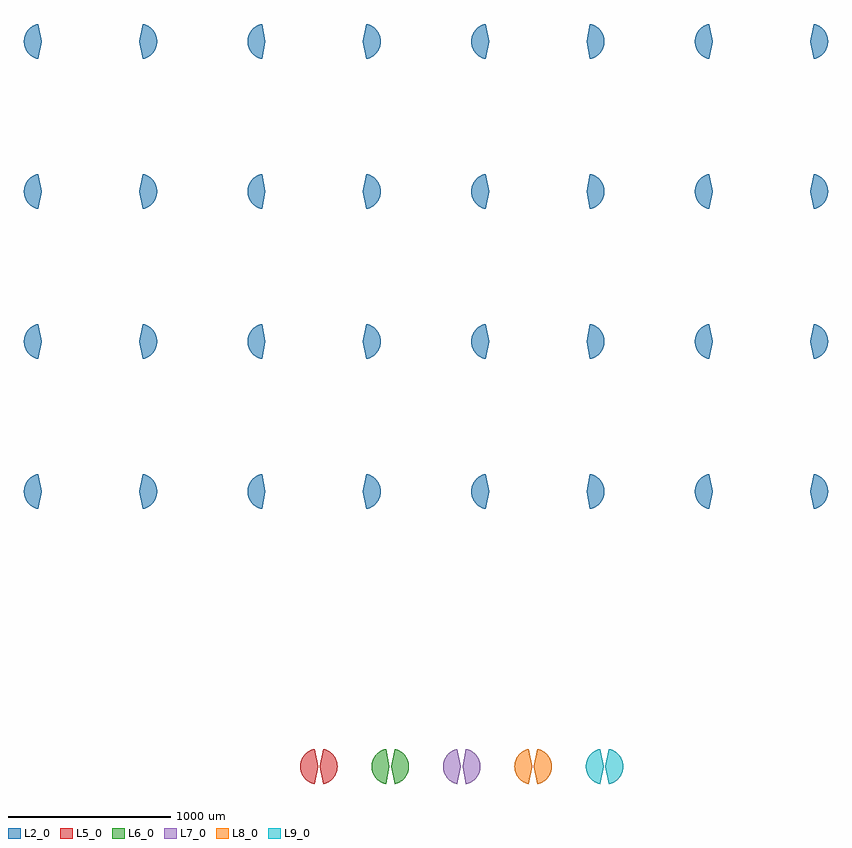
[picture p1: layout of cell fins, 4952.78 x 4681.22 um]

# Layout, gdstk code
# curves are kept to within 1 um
import gdstk
lib = gdstk.Library(unit=1e-6, precision=1e-09)
def P(c, l, *ps):  # polygons
    for p in ps: c.add(gdstk.Polygon(p, *l))
L2_0 = (2, 0)
L5_0 = (5, 0)
L6_0 = (6, 0)
L7_0 = (7, 0)
L8_0 = (8, 0)
L9_0 = (9, 0)

fins = lib.new_cell('fins')
P(fins, L2_0, [(3256.282,6278.39),(3275.127,6284.14),(3291.088,6292.218),(3305.611,6302.847),(3318.137,6315.619),(3328.482,6330.346),(3337.286,6349.269),(3341.888,6366.668),(3343.59,6386.056),(3233.64,6386.056),(3254.774,6279.552)],
  [(3343.59,6387.47),(3341.888,6405.332),(3337.286,6422.731),(3328.482,6441.654),(3318.137,6456.381),(3305.57,6469.188),(3288.562,6481.285),(3272.289,6488.971),(3255.282,6493.289),(3233.64,6386.056),(3343.59,6386.056)],
  [(2611.061,6278.389),(2612.426,6279.552),(2633.56,6386.056),(2523.61,6386.056),(2525.312,6366.668),(2529.914,6349.269),(2538.718,6330.346),(2549.063,6315.619),(2561.589,6302.847),(2576.112,6292.218),(2592.073,6284.14)],
  [(2633.554,6386.168),(2612.426,6492.448),(2610.99,6493.612),(2592.073,6487.86),(2576.112,6479.782),(2561.589,6469.153),(2549.063,6456.381),(2538.718,6441.654),(2529.914,6422.731),(2525.312,6405.332),(2523.61,6387.47),(2523.61,6386.056)],
  [(4633.882,6278.39),(4652.727,6284.14),(4668.688,6292.218),(4683.211,6302.847),(4695.737,6315.619),(4706.082,6330.346),(4714.886,6349.269),(4719.488,6366.668),(4721.19,6386.098),(4611.242,6386.098),(4632.374,6279.552)],
  [(4721.19,6387.47),(4719.488,6405.332),(4714.886,6422.731),(4706.082,6441.654),(4695.737,6456.381),(4683.17,6469.188),(4666.162,6481.285),(4649.889,6488.971),(4632.882,6493.289),(4611.242,6386.098),(4721.19,6386.098)],
  [(3988.661,6278.389),(3990.026,6279.552),(4011.16,6386.056),(3901.21,6386.056),(3902.912,6366.668),(3907.514,6349.269),(3916.318,6330.346),(3926.663,6315.619),(3939.189,6302.847),(3953.712,6292.218),(3969.673,6284.14)],
  [(4011.154,6386.168),(3990.026,6492.448),(3988.59,6493.612),(3969.673,6487.86),(3953.712,6479.782),(3939.189,6469.153),(3926.663,6456.381),(3916.318,6441.654),(3907.514,6422.731),(3902.912,6405.332),(3901.21,6387.47),(3901.21,6386.056)],
  [(6011.482,6278.39),(6030.327,6284.14),(6046.288,6292.218),(6060.811,6302.847),(6073.337,6315.619),(6083.682,6330.346),(6092.486,6349.269),(6097.088,6366.668),(6098.79,6386.098),(5988.842,6386.098),(6009.974,6279.552)],
  [(6098.79,6387.47),(6097.088,6405.332),(6092.486,6422.731),(6083.682,6441.654),(6073.337,6456.381),(6060.77,6469.188),(6043.762,6481.285),(6027.489,6488.971),(6010.482,6493.289),(5988.842,6386.098),(6098.79,6386.098)],
  [(5366.261,6278.389),(5367.626,6279.552),(5388.758,6386.098),(5278.81,6386.098),(5280.512,6366.668),(5285.114,6349.269),(5293.918,6330.346),(5304.263,6315.619),(5316.789,6302.847),(5331.312,6292.218),(5347.273,6284.14)],
  [(5388.751,6386.196),(5367.626,6492.448),(5366.19,6493.612),(5347.273,6487.86),(5331.312,6479.782),(5316.789,6469.153),(5304.263,6456.381),(5293.918,6441.654),(5285.114,6422.731),(5280.512,6405.332),(5278.81,6387.47),(5278.81,6386.098)],
  [(7389.082,6278.39),(7407.927,6284.14),(7423.888,6292.218),(7438.411,6302.847),(7450.937,6315.619),(7461.282,6330.346),(7470.086,6349.269),(7474.688,6366.668),(7476.39,6386.098),(7366.442,6386.098),(7387.574,6279.552)],
  [(7476.39,6387.47),(7474.688,6405.332),(7470.086,6422.731),(7461.282,6441.654),(7450.937,6456.381),(7438.37,6469.188),(7421.362,6481.285),(7405.089,6488.971),(7388.082,6493.289),(7366.442,6386.098),(7476.39,6386.098)],
  [(6743.861,6278.389),(6745.226,6279.552),(6766.358,6386.098),(6656.41,6386.098),(6658.112,6366.668),(6662.714,6349.269),(6671.518,6330.346),(6681.863,6315.619),(6694.389,6302.847),(6708.912,6292.218),(6724.873,6284.14)],
  [(6766.351,6386.196),(6745.226,6492.448),(6743.79,6493.612),(6724.873,6487.86),(6708.912,6479.782),(6694.389,6469.153),(6681.863,6456.381),(6671.518,6441.654),(6662.714,6422.731),(6658.112,6405.332),(6656.41,6387.47),(6656.41,6386.098)],
  [(3256.282,5354.39),(3275.127,5360.14),(3291.088,5368.218),(3305.611,5378.847),(3318.137,5391.619),(3328.482,5406.346),(3337.286,5425.269),(3341.888,5442.668),(3343.59,5462.056),(3233.64,5462.056),(3254.774,5355.552)],
  [(3343.59,5463.47),(3341.888,5481.332),(3337.286,5498.731),(3328.482,5517.654),(3318.137,5532.381),(3305.57,5545.188),(3288.562,5557.285),(3272.289,5564.971),(3255.282,5569.289),(3233.64,5462.056),(3343.59,5462.056)],
  [(2611.061,5354.389),(2612.426,5355.552),(2633.56,5462.056),(2523.61,5462.056),(2525.312,5442.668),(2529.914,5425.269),(2538.718,5406.346),(2549.063,5391.619),(2561.589,5378.847),(2576.112,5368.218),(2592.073,5360.14)],
  [(2633.554,5462.168),(2612.426,5568.448),(2610.99,5569.612),(2592.073,5563.86),(2576.112,5555.782),(2561.589,5545.153),(2549.063,5532.381),(2538.718,5517.654),(2529.914,5498.731),(2525.312,5481.332),(2523.61,5463.47),(2523.61,5462.056)],
  [(4633.882,5354.39),(4652.727,5360.14),(4668.688,5368.218),(4683.211,5378.847),(4695.737,5391.619),(4706.082,5406.346),(4714.886,5425.269),(4719.488,5442.668),(4721.19,5462.098),(4611.242,5462.098),(4632.374,5355.552)],
  [(4721.19,5463.47),(4719.488,5481.332),(4714.886,5498.731),(4706.082,5517.654),(4695.737,5532.381),(4683.17,5545.188),(4666.162,5557.285),(4649.889,5564.971),(4632.882,5569.289),(4611.242,5462.098),(4721.19,5462.098)],
  [(3988.661,5354.389),(3990.026,5355.552),(4011.16,5462.056),(3901.21,5462.056),(3902.912,5442.668),(3907.514,5425.269),(3916.318,5406.346),(3926.663,5391.619),(3939.189,5378.847),(3953.712,5368.218),(3969.673,5360.14)],
  [(4011.154,5462.168),(3990.026,5568.448),(3988.59,5569.612),(3969.673,5563.86),(3953.712,5555.782),(3939.189,5545.153),(3926.663,5532.381),(3916.318,5517.654),(3907.514,5498.731),(3902.912,5481.332),(3901.21,5463.47),(3901.21,5462.056)],
  [(6011.482,5354.39),(6030.327,5360.14),(6046.288,5368.218),(6060.811,5378.847),(6073.337,5391.619),(6083.682,5406.346),(6092.486,5425.269),(6097.088,5442.668),(6098.79,5462.098),(5988.842,5462.098),(6009.974,5355.552)],
  [(6098.79,5463.47),(6097.088,5481.332),(6092.486,5498.731),(6083.682,5517.654),(6073.337,5532.381),(6060.77,5545.188),(6043.762,5557.285),(6027.489,5564.971),(6010.482,5569.289),(5988.842,5462.098),(6098.79,5462.098)],
  [(5366.261,5354.389),(5367.626,5355.552),(5388.758,5462.098),(5278.81,5462.098),(5280.512,5442.668),(5285.114,5425.269),(5293.918,5406.346),(5304.263,5391.619),(5316.789,5378.847),(5331.312,5368.218),(5347.273,5360.14)],
  [(5388.751,5462.196),(5367.626,5568.448),(5366.19,5569.612),(5347.273,5563.86),(5331.312,5555.782),(5316.789,5545.153),(5304.263,5532.381),(5293.918,5517.654),(5285.114,5498.731),(5280.512,5481.332),(5278.81,5463.47),(5278.81,5462.098)],
  [(7389.082,5354.39),(7407.927,5360.14),(7423.888,5368.218),(7438.411,5378.847),(7450.937,5391.619),(7461.282,5406.346),(7470.086,5425.269),(7474.688,5442.668),(7476.39,5462.098),(7366.442,5462.098),(7387.574,5355.552)],
  [(7476.39,5463.47),(7474.688,5481.332),(7470.086,5498.731),(7461.282,5517.654),(7450.937,5532.381),(7438.37,5545.188),(7421.362,5557.285),(7405.089,5564.971),(7388.082,5569.289),(7366.442,5462.098),(7476.39,5462.098)],
  [(6743.861,5354.389),(6745.226,5355.552),(6766.358,5462.098),(6656.41,5462.098),(6658.112,5442.668),(6662.714,5425.269),(6671.518,5406.346),(6681.863,5391.619),(6694.389,5378.847),(6708.912,5368.218),(6724.873,5360.14)],
  [(6766.351,5462.196),(6745.226,5568.448),(6743.79,5569.612),(6724.873,5563.86),(6708.912,5555.782),(6694.389,5545.153),(6681.863,5532.381),(6671.518,5517.654),(6662.714,5498.731),(6658.112,5481.332),(6656.41,5463.47),(6656.41,5462.098)],
  [(3256.282,4430.39),(3275.127,4436.14),(3291.088,4444.218),(3305.611,4454.847),(3318.137,4467.619),(3328.482,4482.346),(3337.286,4501.269),(3341.888,4518.668),(3343.59,4538.056),(3233.64,4538.056),(3254.774,4431.552)],
  [(3343.59,4539.47),(3341.888,4557.332),(3337.286,4574.731),(3328.482,4593.654),(3318.137,4608.381),(3305.57,4621.188),(3288.562,4633.285),(3272.289,4640.971),(3255.282,4645.289),(3233.64,4538.056),(3343.59,4538.056)],
  [(2611.061,4430.389),(2612.426,4431.552),(2633.56,4538.056),(2523.61,4538.056),(2525.312,4518.668),(2529.914,4501.269),(2538.718,4482.346),(2549.063,4467.619),(2561.589,4454.847),(2576.112,4444.218),(2592.073,4436.14)],
  [(2633.554,4538.168),(2612.426,4644.448),(2610.99,4645.612),(2592.073,4639.86),(2576.112,4631.782),(2561.589,4621.153),(2549.063,4608.381),(2538.718,4593.654),(2529.914,4574.731),(2525.312,4557.332),(2523.61,4539.47),(2523.61,4538.056)],
  [(4633.882,4430.39),(4652.727,4436.14),(4668.688,4444.218),(4683.211,4454.847),(4695.737,4467.619),(4706.082,4482.346),(4714.886,4501.269),(4719.488,4518.668),(4721.19,4538.098),(4611.242,4538.098),(4632.374,4431.552)],
  [(4721.19,4539.47),(4719.488,4557.332),(4714.886,4574.731),(4706.082,4593.654),(4695.737,4608.381),(4683.17,4621.188),(4666.162,4633.285),(4649.889,4640.971),(4632.882,4645.289),(4611.242,4538.098),(4721.19,4538.098)],
  [(3988.661,4430.389),(3990.026,4431.552),(4011.16,4538.056),(3901.21,4538.056),(3902.912,4518.668),(3907.514,4501.269),(3916.318,4482.346),(3926.663,4467.619),(3939.189,4454.847),(3953.712,4444.218),(3969.673,4436.14)],
  [(4011.154,4538.168),(3990.026,4644.448),(3988.59,4645.612),(3969.673,4639.86),(3953.712,4631.782),(3939.189,4621.153),(3926.663,4608.381),(3916.318,4593.654),(3907.514,4574.731),(3902.912,4557.332),(3901.21,4539.47),(3901.21,4538.056)],
  [(6011.482,4430.39),(6030.327,4436.14),(6046.288,4444.218),(6060.811,4454.847),(6073.337,4467.619),(6083.682,4482.346),(6092.486,4501.269),(6097.088,4518.668),(6098.79,4538.098),(5988.842,4538.098),(6009.974,4431.552)],
  [(6098.79,4539.47),(6097.088,4557.332),(6092.486,4574.731),(6083.682,4593.654),(6073.337,4608.381),(6060.77,4621.188),(6043.762,4633.285),(6027.489,4640.971),(6010.482,4645.289),(5988.842,4538.098),(6098.79,4538.098)],
  [(5366.261,4430.389),(5367.626,4431.552),(5388.758,4538.098),(5278.81,4538.098),(5280.512,4518.668),(5285.114,4501.269),(5293.918,4482.346),(5304.263,4467.619),(5316.789,4454.847),(5331.312,4444.218),(5347.273,4436.14)],
  [(5388.751,4538.196),(5367.626,4644.448),(5366.19,4645.612),(5347.273,4639.86),(5331.312,4631.782),(5316.789,4621.153),(5304.263,4608.381),(5293.918,4593.654),(5285.114,4574.731),(5280.512,4557.332),(5278.81,4539.47),(5278.81,4538.098)],
  [(7389.082,4430.39),(7407.927,4436.14),(7423.888,4444.218),(7438.411,4454.847),(7450.937,4467.619),(7461.282,4482.346),(7470.086,4501.269),(7474.688,4518.668),(7476.39,4538.098),(7366.442,4538.098),(7387.574,4431.552)],
  [(7476.39,4539.47),(7474.688,4557.332),(7470.086,4574.731),(7461.282,4593.654),(7450.937,4608.381),(7438.37,4621.188),(7421.362,4633.285),(7405.089,4640.971),(7388.082,4645.289),(7366.442,4538.098),(7476.39,4538.098)],
  [(6743.861,4430.389),(6745.226,4431.552),(6766.358,4538.098),(6656.41,4538.098),(6658.112,4518.668),(6662.714,4501.269),(6671.518,4482.346),(6681.863,4467.619),(6694.389,4454.847),(6708.912,4444.218),(6724.873,4436.14)],
  [(6766.351,4538.196),(6745.226,4644.448),(6743.79,4645.612),(6724.873,4639.86),(6708.912,4631.782),(6694.389,4621.153),(6681.863,4608.381),(6671.518,4593.654),(6662.714,4574.731),(6658.112,4557.332),(6656.41,4539.47),(6656.41,4538.098)],
  [(3256.282,3506.39),(3275.127,3512.14),(3291.088,3520.218),(3305.611,3530.847),(3318.137,3543.619),(3328.482,3558.346),(3337.286,3577.269),(3341.888,3594.668),(3343.59,3614.056),(3233.64,3614.056),(3254.774,3507.552)],
  [(3343.59,3615.47),(3341.888,3633.332),(3337.286,3650.731),(3328.482,3669.654),(3318.137,3684.381),(3305.57,3697.188),(3288.562,3709.285),(3272.289,3716.971),(3255.282,3721.289),(3233.64,3614.056),(3343.59,3614.056)],
  [(2611.061,3506.389),(2612.426,3507.552),(2633.56,3614.056),(2523.61,3614.056),(2525.312,3594.668),(2529.914,3577.269),(2538.718,3558.346),(2549.063,3543.619),(2561.589,3530.847),(2576.112,3520.218),(2592.073,3512.14)],
  [(2633.554,3614.168),(2612.426,3720.448),(2610.99,3721.612),(2592.073,3715.86),(2576.112,3707.782),(2561.589,3697.153),(2549.063,3684.381),(2538.718,3669.654),(2529.914,3650.731),(2525.312,3633.332),(2523.61,3615.47),(2523.61,3614.056)],
  [(4633.882,3506.39),(4652.727,3512.14),(4668.688,3520.218),(4683.211,3530.847),(4695.737,3543.619),(4706.082,3558.346),(4714.886,3577.269),(4719.488,3594.668),(4721.19,3614.098),(4611.242,3614.098),(4632.374,3507.552)],
  [(4721.19,3615.47),(4719.488,3633.332),(4714.886,3650.731),(4706.082,3669.654),(4695.737,3684.381),(4683.17,3697.188),(4666.162,3709.285),(4649.889,3716.971),(4632.882,3721.289),(4611.242,3614.098),(4721.19,3614.098)],
  [(3988.661,3506.389),(3990.026,3507.552),(4011.16,3614.056),(3901.21,3614.056),(3902.912,3594.668),(3907.514,3577.269),(3916.318,3558.346),(3926.663,3543.619),(3939.189,3530.847),(3953.712,3520.218),(3969.673,3512.14)],
  [(4011.154,3614.168),(3990.026,3720.448),(3988.59,3721.612),(3969.673,3715.86),(3953.712,3707.782),(3939.189,3697.153),(3926.663,3684.381),(3916.318,3669.654),(3907.514,3650.731),(3902.912,3633.332),(3901.21,3615.47),(3901.21,3614.056)],
  [(6011.482,3506.39),(6030.327,3512.14),(6046.288,3520.218),(6060.811,3530.847),(6073.337,3543.619),(6083.682,3558.346),(6092.486,3577.269),(6097.088,3594.668),(6098.79,3614.098),(5988.842,3614.098),(6009.974,3507.552)],
  [(6098.79,3615.47),(6097.088,3633.332),(6092.486,3650.731),(6083.682,3669.654),(6073.337,3684.381),(6060.77,3697.188),(6043.762,3709.285),(6027.489,3716.971),(6010.482,3721.289),(5988.842,3614.098),(6098.79,3614.098)],
  [(5366.261,3506.389),(5367.626,3507.552),(5388.758,3614.098),(5278.81,3614.098),(5280.512,3594.668),(5285.114,3577.269),(5293.918,3558.346),(5304.263,3543.619),(5316.789,3530.847),(5331.312,3520.218),(5347.273,3512.14)],
  [(5388.751,3614.196),(5367.626,3720.448),(5366.19,3721.612),(5347.273,3715.86),(5331.312,3707.782),(5316.789,3697.153),(5304.263,3684.381),(5293.918,3669.654),(5285.114,3650.731),(5280.512,3633.332),(5278.81,3615.47),(5278.81,3614.098)],
  [(7389.082,3506.39),(7407.927,3512.14),(7423.888,3520.218),(7438.411,3530.847),(7450.937,3543.619),(7461.282,3558.346),(7470.086,3577.269),(7474.688,3594.668),(7476.39,3614.098),(7366.442,3614.098),(7387.574,3507.552)],
  [(7476.39,3615.47),(7474.688,3633.332),(7470.086,3650.731),(7461.282,3669.654),(7450.937,3684.381),(7438.37,3697.188),(7421.362,3709.285),(7405.089,3716.971),(7388.082,3721.289),(7366.442,3614.098),(7476.39,3614.098)],
  [(6743.861,3506.389),(6745.226,3507.552),(6766.358,3614.098),(6656.41,3614.098),(6658.112,3594.668),(6662.714,3577.269),(6671.518,3558.346),(6681.863,3543.619),(6694.389,3530.847),(6708.912,3520.218),(6724.873,3512.14)],
  [(6766.351,3614.196),(6745.226,3720.448),(6743.79,3721.612),(6724.873,3715.86),(6708.912,3707.782),(6694.389,3697.153),(6681.863,3684.381),(6671.518,3669.654),(6662.714,3650.731),(6658.112,3633.332),(6656.41,3615.47),(6656.41,3614.098)])
P(fins, L5_0, [(4367.682,1812.39),(4386.527,1818.14),(4402.488,1826.218),(4417.011,1836.847),(4429.537,1849.619),(4439.882,1864.346),(4448.686,1883.269),(4453.288,1900.668),(4454.99,1920.098),(4345.042,1920.098),(4366.174,1813.552)],
  [(4454.99,1921.47),(4453.288,1939.332),(4448.686,1956.731),(4439.882,1975.654),(4429.537,1990.381),(4416.97,2003.188),(4399.962,2015.285),(4383.689,2022.971),(4366.682,2027.289),(4345.042,1920.098),(4454.99,1920.098)],
  [(4312.461,1812.389),(4313.826,1813.552),(4334.958,1920.098),(4225.01,1920.098),(4226.712,1900.668),(4231.314,1883.269),(4240.118,1864.346),(4250.463,1849.619),(4262.989,1836.847),(4277.512,1826.218),(4293.473,1818.14)],
  [(4334.951,1920.196),(4313.826,2026.448),(4312.39,2027.612),(4293.473,2021.86),(4277.512,2013.782),(4262.989,2003.153),(4250.463,1990.381),(4240.118,1975.654),(4231.314,1956.731),(4226.712,1939.332),(4225.01,1921.47),(4225.01,1920.098)])
P(fins, L6_0, [(4807.682,1812.39),(4826.527,1818.14),(4842.488,1826.218),(4857.011,1836.847),(4869.537,1849.619),(4879.882,1864.346),(4888.686,1883.269),(4893.288,1900.668),(4894.99,1920.098),(4785.042,1920.098),(4806.174,1813.552)],
  [(4894.99,1921.47),(4893.288,1939.332),(4888.686,1956.731),(4879.882,1975.654),(4869.537,1990.381),(4856.97,2003.188),(4839.962,2015.285),(4823.689,2022.971),(4806.682,2027.289),(4785.042,1920.098),(4894.99,1920.098)],
  [(4752.461,1812.389),(4753.826,1813.552),(4774.958,1920.098),(4665.01,1920.098),(4666.712,1900.668),(4671.314,1883.269),(4680.118,1864.346),(4690.463,1849.619),(4702.989,1836.847),(4717.512,1826.218),(4733.473,1818.14)],
  [(4774.951,1920.196),(4753.826,2026.448),(4752.39,2027.612),(4733.473,2021.86),(4717.512,2013.782),(4702.989,2003.153),(4690.463,1990.381),(4680.118,1975.654),(4671.314,1956.731),(4666.712,1939.332),(4665.01,1921.47),(4665.01,1920.098)])
P(fins, L7_0, [(5247.682,1812.39),(5266.527,1818.14),(5282.488,1826.218),(5297.011,1836.847),(5309.537,1849.619),(5319.882,1864.346),(5328.686,1883.269),(5333.288,1900.668),(5334.99,1920.098),(5225.042,1920.098),(5246.174,1813.552)],
  [(5334.99,1921.47),(5333.288,1939.332),(5328.686,1956.731),(5319.882,1975.654),(5309.537,1990.381),(5296.97,2003.188),(5279.962,2015.285),(5263.689,2022.971),(5246.682,2027.289),(5225.042,1920.098),(5334.99,1920.098)],
  [(5192.461,1812.389),(5193.826,1813.552),(5214.958,1920.098),(5105.01,1920.098),(5106.712,1900.668),(5111.314,1883.269),(5120.118,1864.346),(5130.463,1849.619),(5142.989,1836.847),(5157.512,1826.218),(5173.473,1818.14)],
  [(5214.951,1920.196),(5193.826,2026.448),(5192.39,2027.612),(5173.473,2021.86),(5157.512,2013.782),(5142.989,2003.153),(5130.463,1990.381),(5120.118,1975.654),(5111.314,1956.731),(5106.712,1939.332),(5105.01,1921.47),(5105.01,1920.098)])
P(fins, L8_0, [(5687.682,1812.39),(5706.527,1818.14),(5722.488,1826.218),(5737.011,1836.847),(5749.537,1849.619),(5759.882,1864.346),(5768.686,1883.269),(5773.288,1900.668),(5774.99,1920.098),(5665.042,1920.098),(5686.174,1813.552)],
  [(5774.99,1921.47),(5773.288,1939.332),(5768.686,1956.731),(5759.882,1975.654),(5749.537,1990.381),(5736.97,2003.188),(5719.962,2015.285),(5703.689,2022.971),(5686.682,2027.289),(5665.042,1920.098),(5774.99,1920.098)],
  [(5632.461,1812.389),(5633.826,1813.552),(5654.958,1920.098),(5545.01,1920.098),(5546.712,1900.668),(5551.314,1883.269),(5560.118,1864.346),(5570.463,1849.619),(5582.989,1836.847),(5597.512,1826.218),(5613.473,1818.14)],
  [(5654.951,1920.196),(5633.826,2026.448),(5632.39,2027.612),(5613.473,2021.86),(5597.512,2013.782),(5582.989,2003.153),(5570.463,1990.381),(5560.118,1975.654),(5551.314,1956.731),(5546.712,1939.332),(5545.01,1921.47),(5545.01,1920.098)])
P(fins, L9_0, [(6127.682,1812.39),(6146.527,1818.14),(6162.488,1826.218),(6177.011,1836.847),(6189.537,1849.619),(6199.882,1864.346),(6208.686,1883.269),(6213.288,1900.668),(6214.99,1920.098),(6105.042,1920.098),(6126.174,1813.552)],
  [(6214.99,1921.47),(6213.288,1939.332),(6208.686,1956.731),(6199.882,1975.654),(6189.537,1990.381),(6176.97,2003.188),(6159.962,2015.285),(6143.689,2022.971),(6126.682,2027.289),(6105.042,1920.098),(6214.99,1920.098)],
  [(6072.461,1812.389),(6073.826,1813.552),(6094.958,1920.098),(5985.01,1920.098),(5986.712,1900.668),(5991.314,1883.269),(6000.118,1864.346),(6010.463,1849.619),(6022.989,1836.847),(6037.512,1826.218),(6053.473,1818.14)],
  [(6094.951,1920.196),(6073.826,2026.448),(6072.39,2027.612),(6053.473,2021.86),(6037.512,2013.782),(6022.989,2003.153),(6010.463,1990.381),(6000.118,1975.654),(5991.314,1956.731),(5986.712,1939.332),(5985.01,1921.47),(5985.01,1920.098)])

lib.write_gds('fins.gds')
